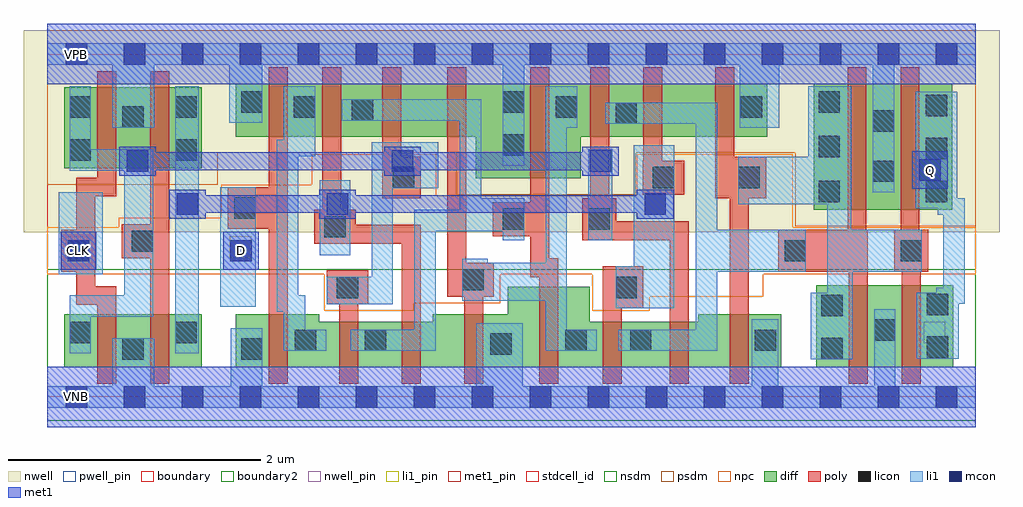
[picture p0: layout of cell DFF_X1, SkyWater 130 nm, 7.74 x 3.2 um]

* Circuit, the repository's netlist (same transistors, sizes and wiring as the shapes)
.subckt DFF_X1 D CLK Q VPWR VGND VNB
M0 cn CLK VGND VNB sky130_fd_pr__nfet_01v8 L=0.15u W=0.42u
M1 cn CLK VPWR nwell_i sky130_fd_pr__pfet_01v8 L=0.15u W=0.64u
M2 VGND cn cp VNB sky130_fd_pr__nfet_01v8 L=0.15u W=0.42u
M3 VPWR cn cp nwell_i sky130_fd_pr__pfet_01v8 L=0.15u W=0.64u
M4 VPWR D db nwell_i sky130_fd_pr__pfet_01v8 L=0.15u W=0.42u
M5 VGND D db VNB sky130_fd_pr__nfet_01v8 L=0.15u W=0.42u
M6 db cn m1 VNB sky130_fd_pr__nfet_01v8 L=0.15u W=0.36u
M7 db cp m1 nwell_i sky130_fd_pr__pfet_01v8 L=0.15u W=0.42u
M8 VPWR m1 m2 nwell_i sky130_fd_pr__pfet_01v8 L=0.15u W=0.75u
M9 VGND m1 m2 VNB sky130_fd_pr__nfet_01v8 L=0.15u W=0.64u
M10 mfn m2 VGND VNB sky130_fd_pr__nfet_01v8 L=0.15u W=0.42u
M11 m1 cp mfn VNB sky130_fd_pr__nfet_01v8 L=0.15u W=0.36u
M12 mfp m2 VPWR nwell_i sky130_fd_pr__pfet_01v8 L=0.15u W=0.42u
M13 m1 cn mfp nwell_i sky130_fd_pr__pfet_01v8 L=0.15u W=0.42u
M14 m2 cn s1 nwell_i sky130_fd_pr__pfet_01v8 L=0.15u W=0.42u
M15 m2 cp s1 VNB sky130_fd_pr__nfet_01v8 L=0.15u W=0.36u
M16 s2 s1 VGND VNB sky130_fd_pr__nfet_01v8 L=0.15u W=0.65u
M17 s2 s1 VPWR nwell_i sky130_fd_pr__pfet_01v8 L=0.15u W=1.0u
M18 sfn s2 VGND VNB sky130_fd_pr__nfet_01v8 L=0.15u W=0.42u
M19 s1 cn sfn VNB sky130_fd_pr__nfet_01v8 L=0.15u W=0.36u
M20 s1 cp sfp nwell_i sky130_fd_pr__pfet_01v8 L=0.15u W=0.42u
M21 sfp s2 VPWR nwell_i sky130_fd_pr__pfet_01v8 L=0.15u W=0.42u
M22 VPWR s2 Q nwell_i sky130_fd_pr__pfet_01v8 L=0.15u W=1.0u
M23 VGND s2 Q VNB sky130_fd_pr__nfet_01v8 L=0.15u W=0.65u
.ends

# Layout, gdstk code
import gdstk
lib = gdstk.Library(unit=1e-6, precision=1e-09)
def R(c, l, rs):  # rectangles x0, y0, x1, y1
    for r in rs: c.add(gdstk.rectangle(r[:2], r[2:], *l))
def A(c, l, x, y, w, h, nx, ny, dx, dy):  # array of equal rectangles
    R(c, l, [(x+i*dx, y+j*dy, x+i*dx+w, y+j*dy+h) for i in range(nx) for j in range(ny)])
def P(c, l, *ps):  # polygons
    for p in ps: c.add(gdstk.Polygon(p, *l))
nwell_pin = (64, 16)
nwell = (64, 20)
diff = (65, 20)
poly = (66, 20)
licon = (66, 44)
li1_pin = (67, 16)
li1 = (67, 20)
mcon = (67, 44)
met1_pin = (68, 16)
met1 = (68, 20)
stdcell_id = (81, 4)
nsdm = (93, 44)
psdm = (94, 20)
npc = (95, 20)
pwell_pin = (122, 16)
boundary = (235, 4)
boundary2 = (236, 0)

dff_x1 = lib.new_cell('DFF_X1')
R(dff_x1, nwell_pin, [(0.145,2.635,0.315,2.805), (0.145,2.635,0.315,2.805)])
R(dff_x1, nwell, [(-0.19,1.305,7.55,2.91)])
R(dff_x1, diff, [(0.135,0.235,1.225,0.655), (6.095,0.235,7.185,0.885), (6.075,1.485,7.175,2.485), (0.135,1.815,1.225,2.455)])
P(dff_x1, diff, [(5.71,2.485),(1.495,2.485),(1.495,2.065),(3.395,2.065),(3.395,1.735),(4.23,1.735),(4.23,2.065),(5.71,2.065)],
  [(5.82,0.655),(5.16,0.655),(5.16,0.595),(4.3,0.595),(4.3,0.875),(3.65,0.875),(3.65,0.655),(3.055,0.655),(3.055,0.595),(2.155,0.595),(2.155,0.655),(1.495,0.655),(1.495,0.235),(5.82,0.235)])
P(dff_x1, poly, [(3.54,1.065),(3.32,1.065),(3.32,2.615),(3.17,2.615),(3.17,0.795),(3.305,0.795),(3.305,0.105),(3.455,0.105),(3.455,0.795),(3.54,0.795)],
  [(2.545,1.005),(2.215,1.005),(2.215,0.735),(2.315,0.735),(2.315,0.105),(2.465,0.105),(2.465,0.735),(2.545,0.735)],
  [(1.905,2.615),(1.755,2.615),(1.755,1.665),(1.43,1.665),(1.43,1.335),(1.755,1.335),(1.755,0.105),(1.905,0.105)],
  [(2.96,1.365),(2.445,1.365),(2.445,1.485),(2.33,1.485),(2.33,2.615),(2.18,2.615),(2.18,1.485),(2.115,1.485),(2.115,1.215),(2.81,1.215),(2.81,0.105),(2.96,0.105)],
  [(2.96,1.905),(2.805,1.905),(2.805,2.615),(2.655,2.615),(2.655,1.575),(2.96,1.575)],
  [(5.7,1.905),(5.445,1.905),(5.445,2.615),(5.295,2.615),(5.295,1.575),(5.41,1.575),(5.41,0.105),(5.56,0.105),(5.56,1.575),(5.7,1.575)],
  [(5.05,1.875),(4.875,1.875),(4.875,2.615),(4.725,2.615),(4.725,1.875),(4.72,1.875),(4.72,1.605),(5.05,1.605)],
  [(0.965,2.585),(0.815,2.585),(0.815,1.37),(0.59,1.37),(0.59,1.1),(0.815,1.1),(0.815,0.105),(0.965,0.105)],
  [(5.085,1.395),(4.51,1.395),(4.51,1.575),(4.455,1.575),(4.455,2.615),(4.305,2.615),(4.305,1.575),(4.24,1.575),(4.24,1.245),(4.935,1.245),(4.935,0.105),(5.085,0.105)],
  [(0.545,0.88),(0.38,0.88),(0.38,1.59),(0.545,1.59),(0.545,2.585),(0.395,2.585),(0.395,1.74),(0.23,1.74),(0.23,1.325),(0.11,1.325),(0.11,0.995),(0.23,0.995),(0.23,0.73),(0.395,0.73),(0.395,0.105),(0.545,0.105)],
  [(6.985,1.325),(6.915,1.325),(6.915,2.615),(6.765,2.615),(6.765,1.325),(6.715,1.325),(6.715,0.995),(6.775,0.995),(6.775,0.105),(6.925,0.105),(6.925,0.995),(6.985,0.995)],
  [(6.505,1.325),(6.495,1.325),(6.495,2.615),(6.345,2.615),(6.345,1.325),(5.795,1.325),(5.795,0.995),(6.355,0.995),(6.355,0.105),(6.505,0.105)],
  [(4.725,1.035),(4.405,1.035),(4.405,0.105),(4.555,0.105),(4.555,0.705),(4.725,0.705)],
  [(4.05,1.1),(3.98,1.1),(3.98,2.615),(3.83,2.615),(3.83,1.545),(3.53,1.545),(3.53,1.275),(3.83,1.275),(3.83,0.95),(3.9,0.95),(3.9,0.105),(4.05,0.105)])
A(dff_x1, licon, 6.115, 1.545, 0.17, 0.17, 1, 3, 0, 0.355)
A(dff_x1, licon, 6.965, 1.545, 0.17, 0.17, 1, 3, 0, 0.34)
R(dff_x1, licon, [(0.595,0.295,0.765,0.465), (1.535,0.295,1.705,0.465), (6.135,0.3,6.305,0.47), (6.975,0.31,7.145,0.48), (3.51,0.335,3.68,0.505), (1.96,0.365,2.13,0.535), (2.515,0.365,2.685,0.535), (4.105,0.365,4.275,0.535), (4.62,0.365,4.79,0.535), (5.61,0.365,5.78,0.535), (0.175,0.425,0.345,0.595), (1.015,0.425,1.185,0.595), (6.555,0.445,6.725,0.615), (6.135,0.64,6.305,0.81), (6.975,0.65,7.145,0.82), (2.295,0.785,2.465,0.955), (4.505,0.785,4.675,0.955), (3.29,0.845,3.46,1.015), (0.16,1.075,0.33,1.245), (5.845,1.075,6.015,1.245), (6.765,1.075,6.935,1.245), (0.67,1.15,0.84,1.32), (2.195,1.265,2.365,1.435), (3.61,1.325,3.78,1.495), (4.29,1.325,4.46,1.495), (1.48,1.415,1.65,1.585), (2.74,1.655,2.91,1.825), (4.8,1.655,4.97,1.825), (5.48,1.655,5.65,1.825), (6.545,1.705,6.715,1.875), (0.175,1.875,0.345,2.045), (1.015,1.875,1.185,2.045), (3.61,1.915,3.78,2.085), (6.545,2.105,6.715,2.275), (0.595,2.135,0.765,2.305), (4.505,2.165,4.675,2.335), (2.415,2.19,2.585,2.36), (0.175,2.215,0.345,2.385), (1.015,2.215,1.185,2.385), (1.955,2.215,2.125,2.385), (4.03,2.215,4.2,2.385), (5.5,2.215,5.67,2.385), (1.535,2.255,1.705,2.425), (3.61,2.255,3.78,2.425)])
R(dff_x1, li1_pin, [(6.95,0.425,7.12,0.595), (0.145,1.105,0.315,1.275), (1.445,1.105,1.615,1.275)])
R(dff_x1, li1, [(1.015,0.345,1.2,2.465), (1.37,0.715,1.65,1.665), (0.09,0.975,0.44,1.625), (2.16,1.125,2.4,1.72), (4.29,1.245,4.48,1.965)])
P(dff_x1, li1, [(6.015,1.325),(5.31,1.325),(5.31,2.335),(4.425,2.335),(4.425,2.165),(5.14,2.165),(5.14,0.535),(4.525,0.535),(4.525,0.365),(5.31,0.365),(5.31,0.995),(6.015,0.995)],
  [(6.935,1.325),(6.375,1.325),(6.375,2.465),(6.035,2.465),(6.035,1.905),(5.48,1.905),(5.48,1.53),(6.185,1.53),(6.185,0.825),(6.055,0.825),(6.055,0.3),(6.385,0.3),(6.385,0.995),(6.935,0.995)],
  [(7.275,1.575),(7.215,1.575),(7.215,2.42),(6.885,2.42),(6.885,1.495),(7.06,1.495),(7.06,1.445),(7.105,1.445),(7.105,0.865),(7.05,0.865),(7.05,0.825),(6.895,0.825),(6.895,0.305),(7.225,0.305),(7.225,0.74),(7.275,0.74)],
  [(4.97,1.995),(4.65,1.995),(4.65,1.035),(4.505,1.035),(4.505,0.705),(4.97,0.705)],
  [(0.84,1.965),(0.345,1.965),(0.345,2.465),(0.175,2.465),(0.175,1.795),(0.61,1.795),(0.61,0.805),(0.175,0.805),(0.175,0.345),(0.345,0.345),(0.345,0.635),(0.84,0.635)],
  [(7.36,2.805),(0,2.805),(0,2.635),(0.515,2.635),(0.515,2.135),(0.845,2.135),(0.845,2.635),(1.44,2.635),(1.44,2.175),(1.705,2.175),(1.705,2.635),(3.61,2.635),(3.61,1.835),(3.78,1.835),(3.78,2.635),(5.49,2.635),(5.49,2.135),(5.805,2.135),(5.805,2.635),(6.545,2.635),(6.545,1.625),(6.715,1.625),(6.715,2.635),(7.36,2.635)],
  [(7.36,0.085),(6.725,0.085),(6.725,0.695),(6.555,0.695),(6.555,0.085),(5.795,0.085),(5.795,0.615),(5.585,0.615),(5.585,0.085),(3.77,0.085),(3.77,0.585),(3.4,0.585),(3.4,0.085),(1.705,0.085),(1.705,0.545),(1.455,0.545),(1.455,0.085),(0.845,0.085),(0.845,0.465),(0.515,0.465),(0.515,0.085),(0,0.085),(0,-0.085),(7.36,-0.085)],
  [(2.21,0.535),(2.045,0.535),(2.045,0.805),(1.99,0.805),(1.99,1.91),(2.125,1.91),(2.125,2.465),(1.875,2.465),(1.875,2.04),(1.82,2.04),(1.82,0.675),(1.875,0.675),(1.875,0.365),(2.21,0.365)],
  [(3.1,2.02),(2.57,2.02),(2.57,0.955),(2.215,0.955),(2.215,0.735),(2.74,0.735),(2.74,1.655),(3.1,1.655)],
  [(3.78,1.575),(3.44,1.575),(3.44,2.36),(2.335,2.36),(2.335,2.19),(3.27,2.19),(3.27,1.485),(2.91,1.485),(2.91,0.535),(2.405,0.535),(2.405,0.365),(3.08,0.365),(3.08,1.315),(3.61,1.315),(3.61,1.245),(3.78,1.245)],
  [(4.355,0.535),(4.12,0.535),(4.12,2.135),(4.2,2.135),(4.2,2.465),(3.95,2.465),(3.95,1.065),(3.49,1.065),(3.49,1.095),(3.29,1.095),(3.29,0.765),(3.95,0.765),(3.95,0.365),(4.355,0.365)])
A(dff_x1, mcon, 0.145, -0.085, 0.17, 0.17, 16, 2, 0.46, 2.72)
R(dff_x1, mcon, [(0.16,1.075,0.33,1.245), (1.45,1.075,1.62,1.245), (1.025,1.445,1.195,1.615), (2.215,1.445,2.385,1.615), (4.735,1.445,4.905,1.615), (6.915,1.715,7.085,1.885), (0.63,1.785,0.8,1.955), (2.73,1.785,2.9,1.955), (4.3,1.785,4.47,1.955)])
R(dff_x1, met1_pin, [(0.145,-0.085,0.315,0.085), (0.145,2.635,0.315,2.805)])
R(dff_x1, met1, [(0,-0.24,7.36,0.24), (0.105,1.01,0.385,1.31), (1.395,1.01,1.675,1.31), (6.86,1.65,7.14,1.95), (0,2.48,7.36,2.96)])
P(dff_x1, met1, [(4.53,1.985),(4.24,1.985),(4.24,1.94),(2.96,1.94),(2.96,1.985),(2.67,1.985),(2.67,1.94),(0.86,1.94),(0.86,1.985),(0.57,1.985),(0.57,1.755),(0.86,1.755),(0.86,1.8),(2.67,1.8),(2.67,1.755),(2.96,1.755),(2.96,1.8),(4.24,1.8),(4.24,1.755),(4.53,1.755)],
  [(4.965,1.645),(4.675,1.645),(4.675,1.6),(2.445,1.6),(2.445,1.645),(2.155,1.645),(2.155,1.6),(1.255,1.6),(1.255,1.645),(0.965,1.645),(0.965,1.415),(1.255,1.415),(1.255,1.46),(2.155,1.46),(2.155,1.415),(2.445,1.415),(2.445,1.46),(4.675,1.46),(4.675,1.415),(4.965,1.415)])
R(dff_x1, stdcell_id, [(0,0,7.36,2.72)])
R(dff_x1, nsdm, [(0,-0.19,7.36,1.015)])
P(dff_x1, psdm, [(7.36,2.91),(0,2.91),(0,1.685),(1.35,1.685),(1.35,1.935),(3.24,1.935),(3.24,1.605),(4.665,1.605),(4.665,1.935),(5.93,1.935),(5.93,1.355),(7.36,1.355)])
P(dff_x1, npc, [(7.36,1.345),(5.91,1.345),(5.91,1.925),(4.675,1.925),(4.675,1.595),(3.085,1.595),(3.085,1.925),(2.095,1.925),(2.095,1.685),(1.38,1.685),(1.38,1.42),(0.565,1.42),(0.565,1.345),(0,1.345),(0,0.975),(2.195,0.975),(2.195,0.685),(2.905,0.685),(2.905,0.745),(3.59,0.745),(3.59,0.975),(4.32,0.975),(4.32,0.685),(4.775,0.685),(4.775,0.795),(5.675,0.795),(5.675,0.975),(7.36,0.975)])
R(dff_x1, pwell_pin, [(0.145,-0.085,0.315,0.085), (0.145,-0.085,0.315,0.085)])
R(dff_x1, boundary, [(0,0,7.36,2.72)])
R(dff_x1, boundary2, [(0,0,7.36,2.72)])
dff_x1.add(gdstk.Label('VPB', (0.23,2.72), layer=64, texttype=5))
dff_x1.add(gdstk.Label('VPB', (0.23,2.72), layer=64, texttype=5))
dff_x1.add(gdstk.Label('VNB', (0.23,0), layer=64, texttype=59))
dff_x1.add(gdstk.Label('VNB', (0.23,0), layer=64, texttype=59))
dff_x1.add(gdstk.Label('VPWR', (0.23,2.72), layer=68, texttype=5))
dff_x1.add(gdstk.Label('VGND', (0.23,0), layer=68, texttype=5))
dff_x1.add(gdstk.Label('D', (1.535,1.16), layer=68, texttype=5))
dff_x1.add(gdstk.Label('CLK', (0.245,1.16), layer=68, texttype=5))
dff_x1.add(gdstk.Label('Q', (7,1.8), layer=68, texttype=5))

lib.write_gds('DFF_X1.gds')
